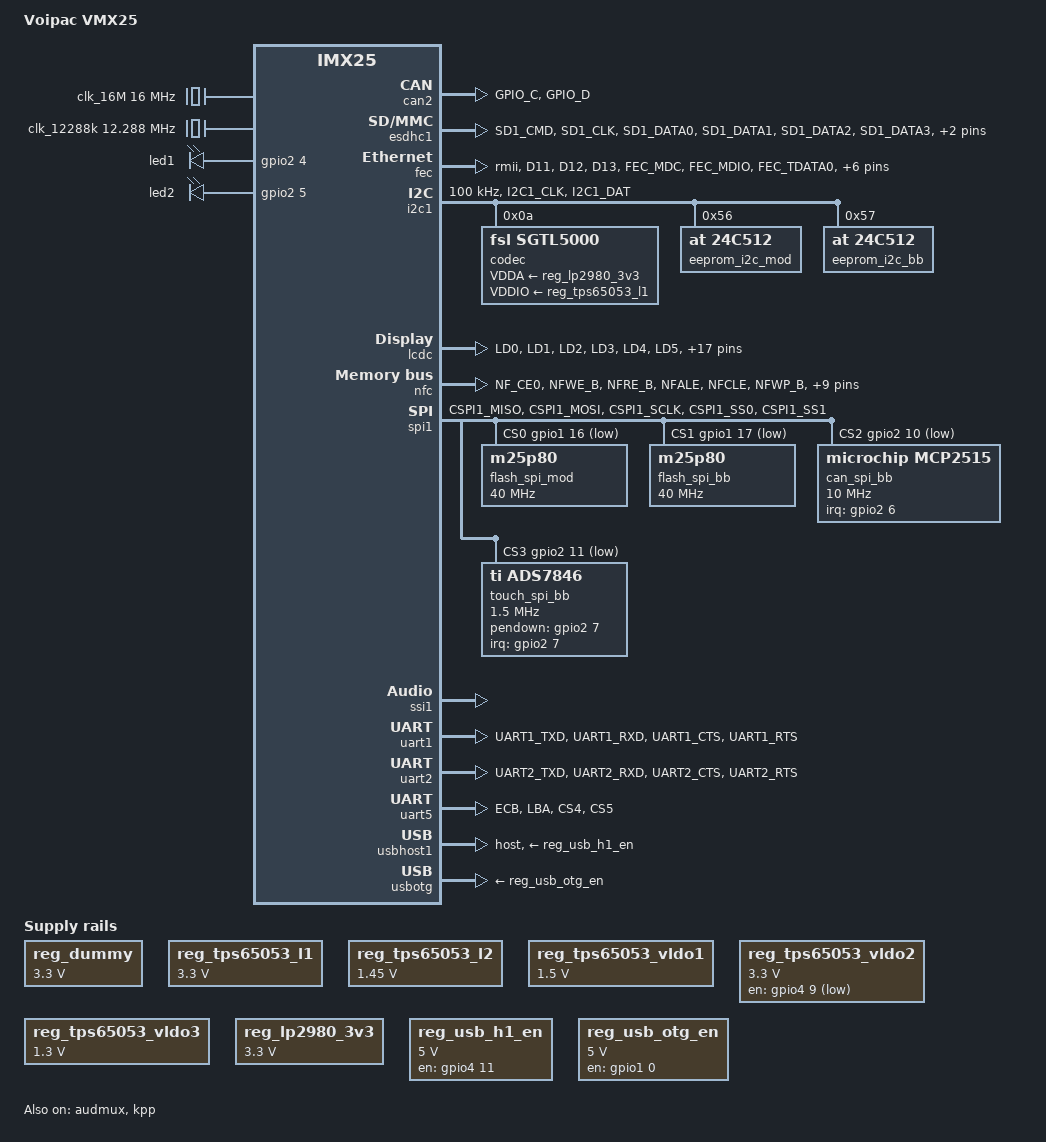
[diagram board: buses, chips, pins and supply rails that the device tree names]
/*
 * Copyright (C) 2014-2018 Voipac.
 *
 * The code contained herein is licensed under the GNU General Public
 * License. You may obtain a copy of the GNU General Public License
 * Version 2 or later at the following locations:
 *
 * http://www.opensource.org/licenses/gpl-license.html
 * http://www.gnu.org/copyleft/gpl.html
 */

/dts-v1/;
#include <dt-bindings/gpio/gpio.h>
#include <dt-bindings/input/input.h>
#include <dt-bindings/interrupt-controller/irq.h>
#include "imx25.dtsi"

/ {
	model = "Voipac VMX25";
	compatible = "voipac,imx25-vmx25", "fsl,imx25";

	chosen {
		stdout-path = &uart1;

		environment@0 {
			compatible = "barebox,environment";
			device-path = &nfc, "partname:environment";
		};
	};

	clocks {
		clk_16M: can_clock {
			compatible = "fixed-clock";
			#clock-cells = <0>;
			clock-frequency = <16000000>;
		};

		clk_12288k: codec_clock {
			compatible = "fixed-clock";
			#clock-cells = <0>;
			clock-frequency = <12288000>;
		};
	};

	display: display {
		model = "DVI-SVGA";
		bits-per-pixel = <16>;
		fsl,pcr = <0xfac08b80>;
		bus-width = <18>;
		native-mode = <&dvi_svga_timings>;
		display-timings {
			dvi_svga_timings: 800x600 {
				clock-frequency = <34000000>;
				hactive = <800>;
				vactive = <600>;
				hback-porch = <57>;
				hfront-porch = <21>;
				vback-porch = <10>;
				vfront-porch = <1>;
				hsync-len = <20>;
				vsync-len = <2>;
			};
		};
	};
/*
	memory {
		reg = <0x80000000 0x02000000 0x90000000 0x02000000>;
	};
*/
	leds {
		compatible = "gpio-leds";
		pinctrl-names = "default";
		pinctrl-0 = <&pinctrl_led>;

		led1 {
			label = "led1";
			gpios = <&gpio2 4 GPIO_ACTIVE_HIGH>;
			linux,default-trigger = "heartbeat";
		};

		led2 {
			label = "led2";
			gpios = <&gpio2 5 GPIO_ACTIVE_HIGH>;
			linux,default-trigger = "default-on";
		};
	};

	regulators {
		compatible = "simple-bus";
		#address-cells = <1>;
		#size-cells = <0>;

		reg_dummy: dummy-3v3 {
			compatible = "regulator-fixed";
			regulator-name = "dummy-3v3";
			regulator-min-microvolt = <3300000>;
			regulator-max-microvolt = <3300000>;
			regulator-boot-on;
			regulator-always-on;
		};

		reg_tps65053_l1: tps65053-3v3 {
			compatible = "regulator-fixed";
			regulator-name = "module-3v3-vio";
			regulator-min-microvolt = <3300000>;
			regulator-max-microvolt = <3300000>;
			regulator-boot-on;
			regulator-always-on;
		};

		reg_tps65053_l2: tps65053-qvdd {
			compatible = "regulator-fixed";
			regulator-name = "module-qvdd";
			regulator-min-microvolt = <1450000>;
			regulator-max-microvolt = <1450000>;
			regulator-boot-on;
			regulator-always-on;
		};

		reg_tps65053_vldo1: tps65053-1v5 {
			compatible = "regulator-fixed";
			regulator-name = "module-1v5";
			regulator-min-microvolt = <1500000>;
			regulator-max-microvolt = <1500000>;
			regulator-boot-on;
			regulator-always-on;
		};

		reg_tps65053_vldo2: tps65053-fec-3v3 {
			compatible = "regulator-fixed";
			regulator-name = "module-fec-phy";
			regulator-min-microvolt = <3300000>;
			regulator-max-microvolt = <3300000>;
			gpio = <&gpio4 9 0>;
		};

		reg_tps65053_vldo3: tps65053-vbackup {
			compatible = "regulator-fixed";
			regulator-name = "module-vbackup-1v3";
			regulator-min-microvolt = <1300000>;
			regulator-max-microvolt = <1300000>;
			regulator-boot-on;
			regulator-always-on;
		};

		reg_lp2980_3v3: lp2980-vdda {
			compatible = "regulator-fixed";
			regulator-name = "bb-vdda-3v3";
			regulator-min-microvolt = <3300000>;
			regulator-max-microvolt = <3300000>;
			regulator-boot-on;
			regulator-always-on;
		};

		reg_usb_h1_en: usb-h1-en {
			compatible = "regulator-fixed";
			regulator-name = "bb-usbh1-en";
			regulator-min-microvolt = <5000000>;
			regulator-max-microvolt = <5000000>;
			gpio = <&gpio4 11 GPIO_ACTIVE_HIGH>;
			enable-active-high;
		};

		reg_usb_otg_en: usb_otg-en {
			compatible = "regulator-fixed";
			regulator-name = "bb-usbotg-en";
			regulator-min-microvolt = <5000000>;
			regulator-max-microvolt = <5000000>;
			gpio = <&gpio1 0 GPIO_ACTIVE_HIGH>;
			enable-active-high;
		};
	};

	sound {		
		compatible = "fsl,imx25-vmx25-sgtl5000",
			     "fsl,imx-audio-sgtl5000";
		model = "imx25-vmx25-sgtl5000";
		ssi-controller = <&ssi1>;
		audio-codec = <&codec>;
		audio-routing =
			"MIC_IN", "Mic Jack",
			"Mic Jack", "Mic Bias",
			"Headphone Jack", "HP_OUT";
		mux-int-port = <1>;
		mux-ext-port = <4>;
	};
};

&audmux {
	pinctrl-names = "default";
	pinctrl-0 = <&pinctrl_audmux>;
	status = "okay";
};

&can2 {
	pinctrl-names = "default";
	pinctrl-0 = <&pinctrl_can2>;
	status = "okay";
};

&esdhc1 {
	pinctrl-names = "default";
	pinctrl-0 = <&pinctrl_esdhc1>;
/*
	cd-gpios = <&gpio4 4 GPIO_ACTIVE_LOW>;
*/
	status = "okay";
};

&fec {
	pinctrl-names = "default";
	pinctrl-0 = <&pinctrl_fec>;
//	phy-reset-gpios = <&gpio4 7 GPIO_ACTIVE_LOW>;
	phy-mode = "rmii";
//	phy-supply = <&reg_tps65053_vldo2>;
	status = "okay";
/*
	phy-handle = <&ethphy>;
	mdio {
		#address-cells = <1>;
		#size-cells = <0>;

		ethphy: ethernet-phy@31 {
			compatible = "smsc,lan8700", "ethernet-phy-ieee802.3-c22";
			reg = <31>;
			max-speed = <100>;
		};
	};
*/
};

&iomuxc {
	pinctrl_audmux: audmuxgrp {
		fsl,pins = <
			MX25_PAD_RW__AUD4_TXFS		0xE0
			MX25_PAD_OE__AUD4_TXC		0xE0
			MX25_PAD_EB0__AUD4_TXD		0xE0
			MX25_PAD_EB1__AUD4_RXD		0xE0
		>;
	};

	pinctrl_can2: can2grp {
		fsl,pins = <
			MX25_PAD_GPIO_C__CAN2_TX	0x0
			MX25_PAD_GPIO_D__CAN2_RX	0x0
		>;
	};

	pinctrl_esdhc1: esdhc1grp {
		fsl,pins = <
			MX25_PAD_SD1_CMD__SD1_CMD	0x00D5
			MX25_PAD_SD1_CLK__SD1_CLK	0x00D5
			MX25_PAD_SD1_DATA0__SD1_DATA0	0x00D5
			MX25_PAD_SD1_DATA1__SD1_DATA1	0x00D5
			MX25_PAD_SD1_DATA2__SD1_DATA2	0x00D5
			MX25_PAD_SD1_DATA3__SD1_DATA3	0x00D5
			MX25_PAD_BCLK__GPIO_4_4		0x80000000 /* card detect GPIO */
			MX25_PAD_D10__GPIO_4_10		0x80000000 /* SD CLK switch GPIO */
		>;
	};

	pinctrl_fec: fecgrp {
		fsl,pins = <
			MX25_PAD_D11__GPIO_4_9		0xF0 /* FEC PHY power on pin */
			MX25_PAD_D12__GPIO_4_8		0xD0 /* FEC INT */
			MX25_PAD_D13__GPIO_4_7		0xD0 /* FEC reset */
			MX25_PAD_FEC_MDC__FEC_MDC	0x80000000
			MX25_PAD_FEC_MDIO__FEC_MDIO	0x80000000
			MX25_PAD_FEC_TDATA0__FEC_TDATA0	0x80000000
			MX25_PAD_FEC_TDATA1__FEC_TDATA1	0x80000000
			MX25_PAD_FEC_TX_EN__FEC_TX_EN	0x80000000
			MX25_PAD_FEC_RDATA0__FEC_RDATA0	0x80000000
			MX25_PAD_FEC_RDATA1__FEC_RDATA1	0x80000000
			MX25_PAD_FEC_RX_DV__FEC_RX_DV	0x80000000
			MX25_PAD_FEC_TX_CLK__FEC_TX_CLK	0x80000000
		>;
	};

	pinctrl_i2c1: i2c1grp {
		fsl,pins = <
			MX25_PAD_I2C1_CLK__I2C1_CLK	0x80000000
			MX25_PAD_I2C1_DAT__I2C1_DAT	0x80000000
		>;
	};

	pinctrl_kpp: kppgrp {
		fsl,pins = <
			MX25_PAD_KPP_ROW0__KPP_ROW0	0x80000000
			MX25_PAD_KPP_ROW1__KPP_ROW1	0x80000000
			MX25_PAD_KPP_ROW2__KPP_ROW2	0x80000000
			MX25_PAD_KPP_ROW3__KPP_ROW3	0x80000000
			MX25_PAD_KPP_COL0__KPP_COL0	0x80000000
			MX25_PAD_KPP_COL1__KPP_COL1	0x80000000
			MX25_PAD_KPP_COL2__KPP_COL2	0x80000000
			MX25_PAD_KPP_COL3__KPP_COL3	0x80000000
		>;
	};

	pinctrl_lcd: lcdgrp {
		fsl,pins = <
			MX25_PAD_LD0__LD0		0xe0
			MX25_PAD_LD1__LD1		0xe0
			MX25_PAD_LD2__LD2		0xe0
			MX25_PAD_LD3__LD3		0xe0
			MX25_PAD_LD4__LD4		0xe0
			MX25_PAD_LD5__LD5		0xe0
			MX25_PAD_LD6__LD6		0xe0
			MX25_PAD_LD7__LD7		0xe0
			MX25_PAD_LD8__LD8		0xe0
			MX25_PAD_LD9__LD9		0xe0
			MX25_PAD_LD10__LD10		0xe0
			MX25_PAD_LD11__LD11		0xe0
			MX25_PAD_LD12__LD12		0xe0
			MX25_PAD_LD13__LD13		0xe0
			MX25_PAD_LD14__LD14		0xe0
			MX25_PAD_LD15__LD15		0xe0
			MX25_PAD_D15__LD16		0xe0
			MX25_PAD_D14__LD17		0xe0
			MX25_PAD_HSYNC__HSYNC		0xe0
			MX25_PAD_VSYNC__VSYNC		0xe0
			MX25_PAD_LSCLK__LSCLK		0xe0
			MX25_PAD_OE_ACD__OE_ACD		0xe0
			MX25_PAD_CONTRAST__CONTRAST	0xe0
		>;
	};

	pinctrl_led: ledgrp {
		fsl,pins = <
			MX25_PAD_A18__GPIO_2_4		0xC0
			MX25_PAD_A19__GPIO_2_5		0xC0
		>;
	};

	pinctrl_nfc: nfcgrp {
		fsl,pins = <
			MX25_PAD_NF_CE0__NF_CE0		0x80000000
			MX25_PAD_NFWE_B__NFWE_B		0x80000000
			MX25_PAD_NFRE_B__NFRE_B		0x80000000
			MX25_PAD_NFALE__NFALE		0x80000000
			MX25_PAD_NFCLE__NFCLE		0x80000000
			MX25_PAD_NFWP_B__NFWP_B		0x80000000
			MX25_PAD_NFRB__NFRB		0x80000000
			MX25_PAD_D7__D7			0x80000000
			MX25_PAD_D6__D6			0x80000000
			MX25_PAD_D5__D5			0x80000000
			MX25_PAD_D4__D4			0x80000000
			MX25_PAD_D3__D3			0x80000000
			MX25_PAD_D2__D2			0x80000000
			MX25_PAD_D1__D1			0x80000000
			MX25_PAD_D0__D0			0x80000000
		>;
	};

	pinctrl_spi1: spi1grp {
		fsl,pins = <
			MX25_PAD_CSPI1_MISO__CSPI1_MISO	0x0
			MX25_PAD_CSPI1_MOSI__CSPI1_MOSI	0x0
			MX25_PAD_CSPI1_SCLK__CSPI1_SCLK	0x0
			MX25_PAD_CSPI1_SS0__GPIO_1_16	0xe0 /* CS0 Module */
			MX25_PAD_CSPI1_SS1__GPIO_1_17	0xe0 /* CS1 Baseboard */
		>;
	};

	pinctrl_spi1_can: spi1cangrp {
		fsl,pins = <
			MX25_PAD_A24__GPIO_2_10	0xe0 /* CS */
			MX25_PAD_A20__GPIO_2_6	0xe0 /* IRQ */
		>;
	};

	pinctrl_spi1_touch: spi1touchgrp {
		fsl,pins = <
			MX25_PAD_A25__GPIO_2_11	0xe0 /* CS */
			MX25_PAD_A21__GPIO_2_7	0xe0 /* IRQ */
		>;
	};

	pinctrl_uart1: uart1grp {
		fsl,pins = <
			MX25_PAD_UART1_TXD__UART1_TXD	0x80000000
			MX25_PAD_UART1_RXD__UART1_RXD	0x80000000
			MX25_PAD_UART1_CTS__UART1_CTS	0x80000000
			MX25_PAD_UART1_RTS__UART1_RTS	0x80000000
		>;
	};

	pinctrl_uart2: uart2grp {
		fsl,pins = <
			MX25_PAD_UART2_TXD__UART2_TXD	0x80000000
			MX25_PAD_UART2_RXD__UART2_RXD	0x80000000
			MX25_PAD_UART2_CTS__UART2_CTS	0x80000000
			MX25_PAD_UART2_RTS__UART2_RTS	0x80000000
		>;
	};

	pinctrl_uart5: uart5grp {
		fsl,pins = <
			MX25_PAD_ECB__UART5_TXD		0x80000000
			MX25_PAD_LBA__UART5_RXD		0x80000000
			MX25_PAD_CS4__UART5_CTS		0x80000000
			MX25_PAD_CS5__UART5_RTS		0x80000000
		>;
	};

	pinctrl_usbh1: usbh1grp {
		fsl,pins = <
			MX25_PAD_D9__GPIO_4_11		0xe0
		>;
	};

	pinctrl_usbotg: usbotggrp {
		fsl,pins = <
			MX25_PAD_GPIO_A__GPIO_A		0xe0
		>;
	};
};

&i2c1 {
	clock-frequency = <100000>;
	pinctrl-names = "default";
	pinctrl-0 = <&pinctrl_i2c1>;
	status = "okay";

	codec: sgtl5000@0a {
		compatible = "fsl,sgtl5000";
		reg = <0x0a>;
		clocks = <&clk_12288k>;
		VDDA-supply = <&reg_lp2980_3v3>;
		VDDIO-supply = <&reg_tps65053_l1>;
	};

        eeprom_i2c_mod: at24c512@56 {
                compatible = "at,24c512";
                pagesize = <32>;
                reg = <0x56>;
        };

        eeprom_i2c_bb: at24c512@57 {
                compatible = "at,24c512";
                pagesize = <128>;
                reg = <0x57>;
        };
};

&kpp {
	pinctrl-names = "default";
	pinctrl-0 = <&pinctrl_kpp>;
	linux,keymap = <
			MATRIX_KEY(0x0, 0x1, KEY_HOME)
			MATRIX_KEY(0x0, 0x3, KEY_BACK)
			MATRIX_KEY(0x2, 0x1, KEY_VOLUMEDOWN)
			MATRIX_KEY(0x2, 0x3, KEY_VOLUMEUP)
	>;
	status = "okay";
};

&lcdc {
	pinctrl-names = "default";
	pinctrl-0 = <&pinctrl_lcd>;
	display = <&display>;
	lcd-supply = <&reg_dummy>;
	status = "okay";
};

&nfc {
	pinctrl-names = "default";
	pinctrl-0 = <&pinctrl_nfc>;
	nand-on-flash-bbt;
	nand-ecc-mode = "hw";
	nand-bus-width = <8>;
	status = "okay";

	partitions {
		compatible = "fixed-partitions";
		#address-cells = <1>;
		#size-cells = <1>;

		partition@0 {
			label = "barebox";
			reg = <0x0 0x80000>;
		};

		partition@80000 {
			label = "environment";
			reg = <0x80000 0x80000>;
		};

		partition@100000 {
			label = "kernel";
			reg = <0x100000 0x400000>;
		};

		partition@500000 {
			label = "rootfs";
			reg = <0x500000 0x7800000>;
		};
	};

};

&spi1 {
	pinctrl-names = "default";
	pinctrl-0 = <&pinctrl_spi1>;
	cs-gpios = <&gpio1 16 GPIO_ACTIVE_LOW>,
		   <&gpio1 17 GPIO_ACTIVE_LOW>,
		   <&gpio2 10 GPIO_ACTIVE_LOW>,
		   <&gpio2 11 GPIO_ACTIVE_LOW>;
	status = "okay";

	flash_spi_mod: m25p80@0 {
		compatible = "m25p80", "jedec,spi-nor";
		spi-max-frequency = <40000000>;
		reg = <0>;
	};

	flash_spi_bb: m25p80@1 {
		compatible = "m25p80", "jedec,spi-nor";
		spi-max-frequency = <40000000>;
		reg = <1>;
	};

	can_spi_bb: can {
		pinctrl-names = "default";
		pinctrl-0 = <&pinctrl_spi1_can>;
		compatible = "microchip,mcp2515";
		reg = <2>;
		clocks = <&clk_16M>;
		spi-max-frequency = <10000000>;
		interrupt-parent = <&gpio2>;
		interrupts = <6 IRQ_TYPE_EDGE_FALLING>;
	};

	touch_spi_bb: touch {
		pinctrl-names = "default";
		pinctrl-0 = <&pinctrl_spi1_touch>;
		compatible = "ti,ads7846";
		reg = <3>;
		spi-cpol;
		spi-max-frequency = <1500000>;
		interrupt-parent = <&gpio2>;
		interrupts = <7 IRQ_TYPE_LEVEL_LOW>;
		pendown-gpio = <&gpio2 7 0>;

		ti,x-min = /bits/ 16 <0>;
		ti,x-max = /bits/ 16 <8000>;
		ti,y-min = /bits/ 16 <0>;
		ti,y-max = /bits/ 16 <4800>;
		ti,x-plate-ohms = /bits/ 16 <300>;
		ti,y-plate-ohms = /bits/ 16 <600>;
		ti,pressure-max = /bits/ 16 <255>;
	};
};

&ssi1 {
	codec-handle = <&codec>;
	fsl,mode = "i2s-slave";
	status = "okay";
};

&uart1 {
	pinctrl-names = "default";
	pinctrl-0 = <&pinctrl_uart1>;
	status = "okay";
};

&uart2 {
	pinctrl-names = "default";
	pinctrl-0 = <&pinctrl_uart2>;
	status = "okay";
};

&uart5 {
	pinctrl-names = "default";
	pinctrl-0 = <&pinctrl_uart5>;
	status = "okay";
};

&usbhost1 {
	phy_type = "serial";
	dr_mode = "host";
	vbus-supply = <&reg_usb_h1_en>;
	status = "okay";
};

&usbotg {
	/*external-vbus-divider;*/
	vbus-supply = <&reg_usb_otg_en>;
	status = "okay";
};
